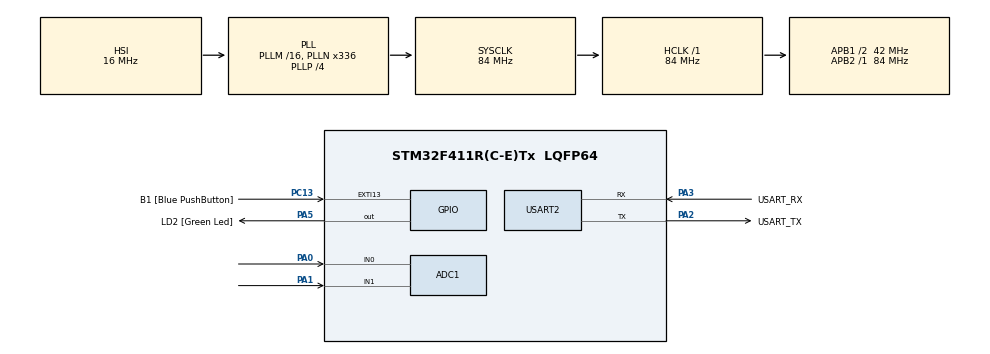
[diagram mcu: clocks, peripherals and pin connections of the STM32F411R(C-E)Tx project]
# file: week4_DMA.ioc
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Mcu.Family=STM32F4
RCC.CortexFreq_Value=84000000
VP_ADC1_TempSens_Input.Mode=IN-TempSens
ADC1.ContinuousConvMode=ENABLE
PA14.GPIO_Label=TCK
RCC.SYSCLKSource=RCC_SYSCLKSOURCE_PLLCLK
ProjectManager.StackSize=0x400
PH0\ -\ OSC_IN.Signal=RCC_OSC_IN
ADC1.Channel-3\#ChannelRegularConversion=ADC_CHANNEL_VREFINT
RCC.HCLKFreq_Value=84000000
RCC.APB2TimFreq_Value=84000000
Dma.ADC1.0.Direction=DMA_PERIPH_TO_MEMORY
ADC1.Channel-2\#ChannelRegularConversion=ADC_CHANNEL_TEMPSENSOR
NVIC.DMA2_Stream0_IRQn=true\:0\:0\:false\:false\:true\:false\:true
Dma.ADC1.0.MemDataAlignment=DMA_MDATAALIGN_WORD
RCC.AHBFreq_Value=84000000
NVIC.EXTI15_10_IRQn=true\:0\:0\:false\:false\:true\:true\:true
ADC1.Channel-0\#ChannelRegularConversion=ADC_CHANNEL_0
RCC.HSE_VALUE=8000000
PC13-ANTI_TAMP.Signal=GPXTI13
VP_ADC1_Vref_Input.Mode=IN-Vrefint
ADC1.Rank-2\#ChannelRegularConversion=3
PC14-OSC32_IN.Mode=LSE-External-Oscillator
PA14.Mode=Serial_Wire
Dma.ADC1.0.PeriphInc=DMA_PINC_DISABLE
SH.ADCx_IN0.0=ADC1_IN0,IN0
ADC1.SamplingTime-0\#ChannelRegularConversion=ADC_SAMPLETIME_480CYCLES
RCC.FLatency-AdvancedSettings=FLASH_LATENCY_2
Mcu.Package=LQFP64
USART2.VirtualMode=VM_ASYNC
PA2.GPIO_Label=USART_TX
SH.ADCx_IN1.0=ADC1_IN1,IN1
RCC.APB1TimFreq_Value=84000000
Dma.ADC1.0.FIFOMode=DMA_FIFOMODE_DISABLE
Dma.Request0=ADC1
PA3.Signal=USART2_RX
PB3.GPIO_Label=SWO
PC15-OSC32_OUT.Mode=LSE-External-Oscillator
Dma.ADC1.0.Instance=DMA2_Stream0
ADC1.Rank-0\#ChannelRegularConversion=1
PC13-ANTI_TAMP.GPIO_PuPd=GPIO_PULLUP
PC13-ANTI_TAMP.GPIO_Label=B1 [Blue PushButton]
PH1\ -\ OSC_OUT.Mode=HSE-External-Clock-Source
RCC.APB1CLKDivider=RCC_HCLK_DIV2
PC14-OSC32_IN.Signal=RCC_OSC32_IN
ADC1.SamplingTime-2\#ChannelRegularConversion=ADC_SAMPLETIME_144CYCLES
PA0-WKUP.Signal=ADCx_IN0
PA13.Signal=SYS_JTMS-SWDIO
PA3.Mode=Asynchronous
Dma.ADC1.0.PeriphDataAlignment=DMA_PDATAALIGN_WORD
PH0\ -\ OSC_IN.Mode=HSE-External-Clock-Source
ProjectManager.TargetToolchain=STM32CubeIDE
Dma.ADC1.0.Mode=DMA_CIRCULAR
Dma.ADC1.0.Priority=DMA_PRIORITY_LOW
ADC1.Channel-1\#ChannelRegularConversion=ADC_CHANNEL_1
PC15-OSC32_OUT.Signal=RCC_OSC32_OUT
PA1.Signal=ADCx_IN1
PA5.Signal=GPIO_Output
PH1\ -\ OSC_OUT.Signal=RCC_OSC_OUT
board=NUCLEO-F411RE
RCC.VCOOutputFreq_Value=336000000
RCC.APB2Freq_Value=84000000
ADC1.DMAContinuousRequests=ENABLE
ADC1.NbrOfConversion=4
PA13.Mode=Serial_Wire
Mcu.Name=STM32F411R(C-E)Tx
PA13.GPIO_Label=TMS
PA2.Signal=USART2_TX
RCC.48MHZClocksFreq_Value=84000000
PB3.Signal=SYS_JTDO-SWO
ADC1.SamplingTime-1\#ChannelRegularConversion=ADC_SAMPLETIME_144CYCLES
RCC.SYSCLKFreq_VALUE=84000000
ADC1.master=1
PA5.GPIO_Label=LD2 [Green Led]
ADC1.Rank-3\#ChannelRegularConversion=4
ADC1.SamplingTime-3\#ChannelRegularConversion=ADC_SAMPLETIME_144CYCLES
ADC1.Rank-1\#ChannelRegularConversion=2
PC13-ANTI_TAMP.GPIO_ModeDefaultEXTI=GPIO_MODE_IT_RISING_FALLING
PA14.Signal=SYS_JTCK-SWCLK
Dma.ADC1.0.MemInc=DMA_MINC_ENABLE
ProjectManager.HeapSize=0x200
RCC.HSI_VALUE=16000000
RCC.PLLP=RCC_PLLP_DIV4
NVIC.PriorityGroup=NVIC_PRIORITYGROUP_0
ADC1.NbrOfConversionFlag=1
RCC.PLLN=336
PA2.Mode=Asynchronous
RCC.APB1Freq_Value=42000000
PA3.GPIO_Label=USART_RX

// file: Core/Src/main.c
/* USER CODE BEGIN Header */
/**
  ******************************************************************************
  * @file           : main.c
  * @brief          : Main program body
  ******************************************************************************
  * @attention
  *
  * <h2><center>&copy; Copyright (c) 2021 STMicroelectronics.
  * All rights reserved.</center></h2>
  *
  * This software component is licensed by ST under BSD 3-Clause license,
  * the "License"; You may not use this file except in compliance with the
  * License. You may obtain a copy of the License at:
  *                        opensource.org/licenses/BSD-3-Clause
  *
  ******************************************************************************
  */
/* USER CODE END Header */
#include "main.h"

ADC_HandleTypeDef hadc1;
DMA_HandleTypeDef hdma_adc1;

UART_HandleTypeDef huart2;

/* USER CODE BEGIN PV */
uint32_t ADCData[4]={0};
uint16_t Time_Stamp = 0;
uint16_t Response_Time = 0;
uint16_t Random_Time = 0;
uint16_t Count = 0;
/* USER CODE END PV */

void SystemClock_Config(void);
static void MX_GPIO_Init(void);
static void MX_DMA_Init(void);
static void MX_USART2_UART_Init(void);
static void MX_ADC1_Init(void);

int main(void)
{

  /* MCU Configuration--------------------------------------------------------*/

  /* Reset of all peripherals, Initializes the Flash interface and the Systick. */
  HAL_Init();

  /* Configure the system clock */
  SystemClock_Config();

  /* Initialize all configured peripherals */
  MX_GPIO_Init();
  MX_DMA_Init();
  MX_USART2_UART_Init();
  MX_ADC1_Init();
  /* USER CODE BEGIN 2 */
  HAL_ADC_Start_DMA(&hadc1, ADCData, 4);
  HAL_GPIO_WritePin(LD2_GPIO_Port, LD2_Pin, 0);
  /* USER CODE END 2 */

  /* Infinite loop */
  /* USER CODE BEGIN WHILE */
  while (1)
  {
	  if (Count == 0)
	  {
		  HAL_GPIO_WritePin(LD2_GPIO_Port, LD2_Pin, 0);

	  }

	  else if (Count == 1)
	  {
		  Random_Time = 1000 + (((22695477*ADCData[0])+ADCData[1])%1000);
		  Time_Stamp = HAL_GetTick();
		  while (HAL_GetTick() - Time_Stamp < Random_Time)
		  {
			  HAL_GPIO_WritePin(LD2_GPIO_Port, LD2_Pin, 0);
		  }
		  Count = 2;
		  HAL_GPIO_WritePin(LD2_GPIO_Port, LD2_Pin, 1);
		  Time_Stamp = HAL_GetTick();
	  }

	  else if ((Count == 2) && (HAL_GetTick() - Time_Stamp >= 7000))
	  {
		  Count = 0;
		  Random_Time = 0;
		  Time_Stamp = HAL_GetTick();
	  }
    /* USER CODE END WHILE */

  }
}

void SystemClock_Config(void)
{
  RCC_OscInitTypeDef RCC_OscInitStruct = {0};
  RCC_ClkInitTypeDef RCC_ClkInitStruct = {0};

  /** Configure the main internal regulator output voltage
  */
  __HAL_RCC_PWR_CLK_ENABLE();
  __HAL_PWR_VOLTAGESCALING_CONFIG(PWR_REGULATOR_VOLTAGE_SCALE1);
  /** Initializes the RCC Oscillators according to the specified parameters
  * in the RCC_OscInitTypeDef structure.
  */
  RCC_OscInitStruct.OscillatorType = RCC_OSCILLATORTYPE_HSI;
  RCC_OscInitStruct.HSIState = RCC_HSI_ON;
  RCC_OscInitStruct.HSICalibrationValue = RCC_HSICALIBRATION_DEFAULT;
  RCC_OscInitStruct.PLL.PLLState = RCC_PLL_ON;
  RCC_OscInitStruct.PLL.PLLSource = RCC_PLLSOURCE_HSI;
  RCC_OscInitStruct.PLL.PLLM = 16;
  RCC_OscInitStruct.PLL.PLLN = 336;
  RCC_OscInitStruct.PLL.PLLP = RCC_PLLP_DIV4;
  RCC_OscInitStruct.PLL.PLLQ = 4;
  if (HAL_RCC_OscConfig(&RCC_OscInitStruct) != HAL_OK)
  {
    Error_Handler();
  }
  /** Initializes the CPU, AHB and APB buses clocks
  */
  RCC_ClkInitStruct.ClockType = RCC_CLOCKTYPE_HCLK|RCC_CLOCKTYPE_SYSCLK
                              |RCC_CLOCKTYPE_PCLK1|RCC_CLOCKTYPE_PCLK2;
  RCC_ClkInitStruct.SYSCLKSource = RCC_SYSCLKSOURCE_PLLCLK;
  RCC_ClkInitStruct.AHBCLKDivider = RCC_SYSCLK_DIV1;
  RCC_ClkInitStruct.APB1CLKDivider = RCC_HCLK_DIV2;
  RCC_ClkInitStruct.APB2CLKDivider = RCC_HCLK_DIV1;

  if (HAL_RCC_ClockConfig(&RCC_ClkInitStruct, FLASH_LATENCY_2) != HAL_OK)
  {
    Error_Handler();
  }
}

static void MX_ADC1_Init(void)
{

  ADC_ChannelConfTypeDef sConfig = {0};

  /** Configure the global features of the ADC (Clock, Resolution, Data Alignment and number of conversion)
  */
  hadc1.Instance = ADC1;
  hadc1.Init.ClockPrescaler = ADC_CLOCK_SYNC_PCLK_DIV4;
  hadc1.Init.Resolution = ADC_RESOLUTION_12B;
  hadc1.Init.ScanConvMode = ENABLE;
  hadc1.Init.ContinuousConvMode = ENABLE;
  hadc1.Init.DiscontinuousConvMode = DISABLE;
  hadc1.Init.ExternalTrigConvEdge = ADC_EXTERNALTRIGCONVEDGE_NONE;
  hadc1.Init.ExternalTrigConv = ADC_SOFTWARE_START;
  hadc1.Init.DataAlign = ADC_DATAALIGN_RIGHT;
  hadc1.Init.NbrOfConversion = 4;
  hadc1.Init.DMAContinuousRequests = ENABLE;
  hadc1.Init.EOCSelection = ADC_EOC_SINGLE_CONV;
  if (HAL_ADC_Init(&hadc1) != HAL_OK)
  {
    Error_Handler();
  }
  /** Configure for the selected ADC regular channel its corresponding rank in the sequencer and its sample time.
  */
  sConfig.Channel = ADC_CHANNEL_0;
  sConfig.Rank = 1;
  sConfig.SamplingTime = ADC_SAMPLETIME_480CYCLES;
  if (HAL_ADC_ConfigChannel(&hadc1, &sConfig) != HAL_OK)
  {
    Error_Handler();
  }
  /** Configure for the selected ADC regular channel its corresponding rank in the sequencer and its sample time.
  */
  sConfig.Channel = ADC_CHANNEL_1;
  sConfig.Rank = 2;
  sConfig.SamplingTime = ADC_SAMPLETIME_144CYCLES;
  if (HAL_ADC_ConfigChannel(&hadc1, &sConfig) != HAL_OK)
  {
    Error_Handler();
  }
  /** Configure for the selected ADC regular channel its corresponding rank in the sequencer and its sample time.
  */
  sConfig.Channel = ADC_CHANNEL_TEMPSENSOR;
  sConfig.Rank = 3;
  if (HAL_ADC_ConfigChannel(&hadc1, &sConfig) != HAL_OK)
  {
    Error_Handler();
  }
  /** Configure for the selected ADC regular channel its corresponding rank in the sequencer and its sample time.
  */
  sConfig.Channel = ADC_CHANNEL_VREFINT;
  sConfig.Rank = 4;
  if (HAL_ADC_ConfigChannel(&hadc1, &sConfig) != HAL_OK)
  {
    Error_Handler();
  }

}

static void MX_USART2_UART_Init(void)
{

  huart2.Instance = USART2;
  huart2.Init.BaudRate = 115200;
  huart2.Init.WordLength = UART_WORDLENGTH_8B;
  huart2.Init.StopBits = UART_STOPBITS_1;
  huart2.Init.Parity = UART_PARITY_NONE;
  huart2.Init.Mode = UART_MODE_TX_RX;
  huart2.Init.HwFlowCtl = UART_HWCONTROL_NONE;
  huart2.Init.OverSampling = UART_OVERSAMPLING_16;
  if (HAL_UART_Init(&huart2) != HAL_OK)
  {
    Error_Handler();
  }

}

static void MX_DMA_Init(void)
{

  /* DMA controller clock enable */
  __HAL_RCC_DMA2_CLK_ENABLE();

  /* DMA interrupt init */
  /* DMA2_Stream0_IRQn interrupt configuration */
  HAL_NVIC_SetPriority(DMA2_Stream0_IRQn, 0, 0);
  HAL_NVIC_EnableIRQ(DMA2_Stream0_IRQn);

}

static void MX_GPIO_Init(void)
{
  GPIO_InitTypeDef GPIO_InitStruct = {0};

  /* GPIO Ports Clock Enable */
  __HAL_RCC_GPIOC_CLK_ENABLE();
  __HAL_RCC_GPIOH_CLK_ENABLE();
  __HAL_RCC_GPIOA_CLK_ENABLE();
  __HAL_RCC_GPIOB_CLK_ENABLE();

  /*Configure GPIO pin Output Level */
  HAL_GPIO_WritePin(LD2_GPIO_Port, LD2_Pin, GPIO_PIN_RESET);

  /*Configure GPIO pin : B1_Pin */
  GPIO_InitStruct.Pin = B1_Pin;
  GPIO_InitStruct.Mode = GPIO_MODE_IT_RISING_FALLING;
  GPIO_InitStruct.Pull = GPIO_PULLUP;
  HAL_GPIO_Init(B1_GPIO_Port, &GPIO_InitStruct);

  /*Configure GPIO pin : LD2_Pin */
  GPIO_InitStruct.Pin = LD2_Pin;
  GPIO_InitStruct.Mode = GPIO_MODE_OUTPUT_PP;
  GPIO_InitStruct.Pull = GPIO_NOPULL;
  GPIO_InitStruct.Speed = GPIO_SPEED_FREQ_LOW;
  HAL_GPIO_Init(LD2_GPIO_Port, &GPIO_InitStruct);

  /* EXTI interrupt init*/
  HAL_NVIC_SetPriority(EXTI15_10_IRQn, 0, 0);
  HAL_NVIC_EnableIRQ(EXTI15_10_IRQn);

}

/* USER CODE BEGIN 4 */

void HAL_GPIO_EXTI_Callback(uint16_t GPIO_Pin)
{
	if(GPIO_Pin == GPIO_PIN_13)
	{
		if (Count == 0)
		{
			Count = 1;

		}
		else
		{
			if (Count == 2)
			{
				Response_Time = HAL_GetTick() - Time_Stamp;
			}

			Count = 0;
			Random_Time = 0;
		}

	}
}
/* USER CODE END 4 */

void Error_Handler(void)
{
  __disable_irq();
  while (1)
  {
  }
}

/************************ (C) COPYRIGHT STMicroelectronics *****END OF FILE****/
